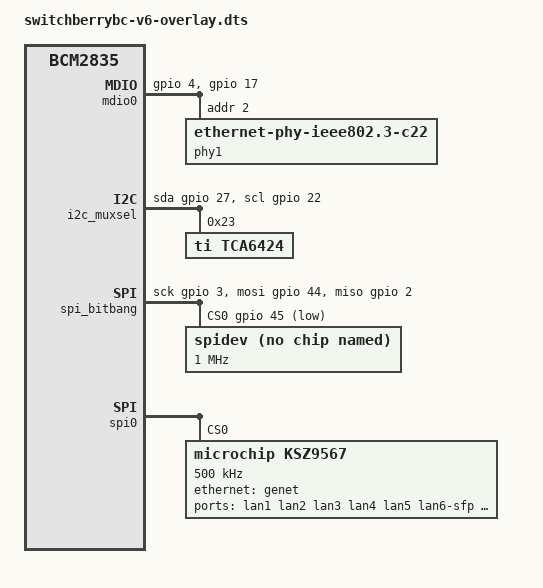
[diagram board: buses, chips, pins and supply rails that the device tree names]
// Switchberry V6 boundary-clock plane: KSZ9567 DSA/PTP plus V6 timing I/O.
/dts-v1/;
/plugin/;

/ {
	compatible = "brcm,bcm2835";
	#address-cells = <2>;
	#size-cells = <1>;

	fragment@0 {
		target = <&genet>;
		__overlay__ {
			max-speed = <1000>;
		};
	};

	fragment@1 {
		target = <&spi0>;
		__overlay__ {
			status = "okay";
			#address-cells = <1>;
			#size-cells = <0>;

			ksz9567: ethernet-switch@0 {
				compatible = "microchip,ksz9567";
				reg = <0>;
				spi-max-frequency = <500000>;
				status = "okay";

				ports {
					#address-cells = <1>;
					#size-cells = <0>;

					port@0 {
						reg = <0>;
						label = "lan1";
						phy-mode = "internal";
					};
					port@1 {
						reg = <1>;
						label = "lan2";
						phy-mode = "internal";
					};
					port@2 {
						reg = <2>;
						label = "lan3";
						phy-mode = "internal";
					};
					port@3 {
						reg = <3>;
						label = "lan4";
						phy-mode = "internal";
					};
					port@4 {
						reg = <4>;
						label = "lan5";
						phy-mode = "internal";
					};
					port@5 {
						reg = <6>;
						label = "lan6-sfp";
						phy-mode = "rgmii";
						fixed-link {
							speed = <1000>;
							full-duplex;
							pause;
						};
					};
					port@6 {
						reg = <5>;
						label = "cpu";
						phy-mode = "rgmii-txid";
						rx-internal-delay-ps = <2000>;
						tx-internal-delay-ps = <2000>;
						ethernet = <&genet>;
						fixed-link {
							speed = <1000>;
							full-duplex;
							pause;
						};
					};
				};
			};
		};
	};

	fragment@2 {
		target-path = "/";
		__overlay__ {
			mdio0: mdio {
				compatible = "virtual,mdio-gpio";
				gpios = <&gpio 4 0>, <&gpio 17 0>;
				#address-cells = <1>;
				#size-cells = <0>;
				status = "okay";

				phy1: ethernet-phy@2 {
					compatible = "ethernet-phy-ieee802.3-c22";
					reg = <2>;
				};
			};
		};
	};

	fragment@3 {
		target-path = "/";
		__overlay__ {
			#address-cells = <2>;
			#size-cells = <1>;
			i2c_muxsel: i2c@9 {
				reg = <0 9 0>;
				compatible = "i2c-gpio";
				gpios = <&gpio 27 2>, <&gpio 22 2>;
				i2c-gpio,delay-us = <2>;
				#address-cells = <1>;
				#size-cells = <0>;

				tca6424: gpio@23 {
					compatible = "ti,tca6424";
					reg = <0x23>;
					gpio-controller;
					#gpio-cells = <2>;
					status = "okay";
					gpio-line-names =
						"SMA1_MUX_SEL0", "SMA1_MUX_SEL1",
						"SMA2_MUX_SEL0", "SMA2_MUX_SEL1",
						"SMA3_MUX_SEL0", "SMA3_MUX_SEL1",
						"M2_MUX_SEL0", "M2_MUX_SEL1",
						"KSZ_MUX_SEL0", "KSZ_MUX_SEL1",
						"CM4_MUX_SEL0", "CM4_MUX_SEL1",
						"DPLL_CLK0P_SEL", "DPLL_CLK1P_SEL",
						"DPLL_CLK0N_SEL", "DPLL_CLK1N_SEL",
						"DPLL_Q9P_SEL", "DPLL_Q10P_SEL";
				};
			};
		};
	};

	fragment@4 {
		target = <&gpio>;
		__overlay__ {
			spi_bitbang_pins: spi-bitbang-pins {
				brcm,pins = <2 3 44 45>;
				brcm,function = <0 0 0 0>;
				brcm,pull = <0 0 0 0>;
			};
		};
	};

	fragment@5 {
		target-path = "/";
		__overlay__ {
			spi_bitbang: spi-bitbang {
				compatible = "spi-gpio";
				pinctrl-names = "default";
				pinctrl-0 = <&spi_bitbang_pins>;
				status = "okay";
				sck-gpios = <&gpio 3 0>;
				mosi-gpios = <&gpio 44 0>;
				miso-gpios = <&gpio 2 0>;
				cs-gpios = <&gpio 45 1>;
				num-chipselects = <1>;
				#address-cells = <1>;
				#size-cells = <0>;

				spidev@0 {
					compatible = "spidev";
					reg = <0>;
					spi-max-frequency = <1000000>;
					status = "okay";
				};
			};
		};
	};

	// dtparam=spi=on creates spidev0 by default. The DSA driver owns CS0 in
	// boundary-clock mode, so suppress the competing userspace SPI device.
	fragment@6 {
		target = <&spidev0>;
		__overlay__ {
			status = "disabled";
		};
	};
};
